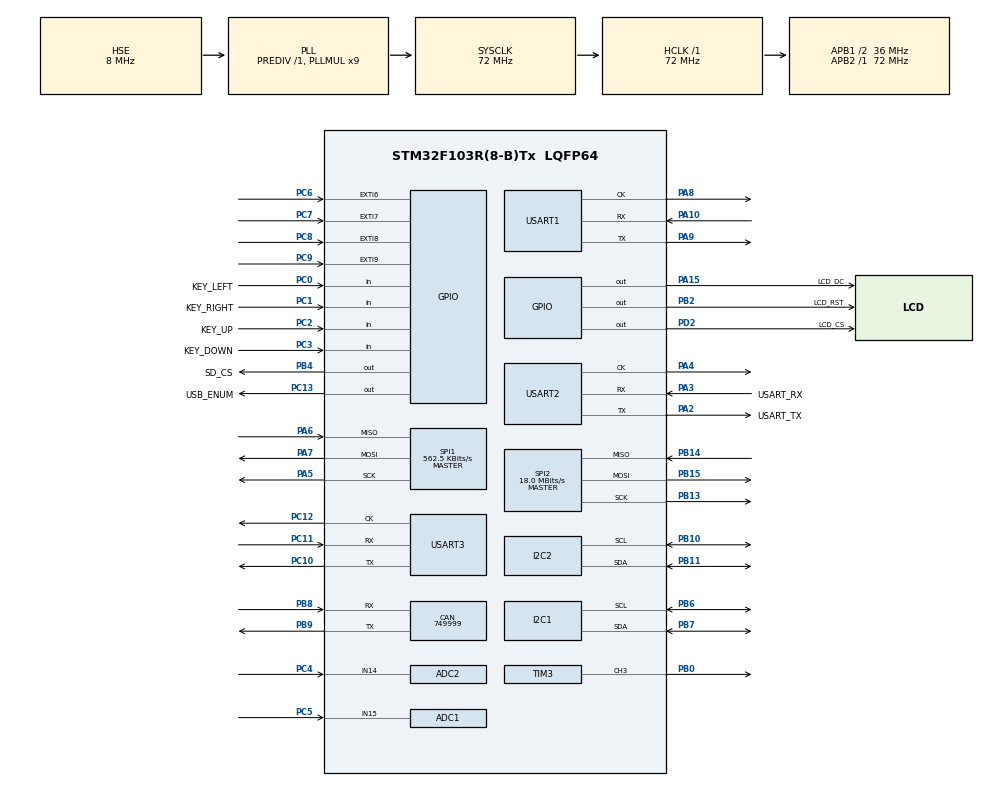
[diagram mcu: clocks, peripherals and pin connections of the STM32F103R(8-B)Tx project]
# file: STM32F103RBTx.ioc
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ADC1.Channel-0\#ChannelRegularConversion=ADC_CHANNEL_15
ADC1.Channel-1\#ChannelRegularConversion=ADC_CHANNEL_15
ADC1.Channel-2\#ChannelRegularConversion=ADC_CHANNEL_15
ADC1.Channel-3\#ChannelRegularConversion=ADC_CHANNEL_15
ADC1.Channel-4\#ChannelRegularConversion=ADC_CHANNEL_15
ADC1.ContinuousConvMode=ENABLE
ADC1.Mode=__NULL
ADC1.NbrOfConversion=5
ADC1.NbrOfConversionFlag=1
ADC1.Rank-0\#ChannelRegularConversion=1
ADC1.Rank-1\#ChannelRegularConversion=2
ADC1.Rank-2\#ChannelRegularConversion=3
ADC1.Rank-3\#ChannelRegularConversion=4
ADC1.Rank-4\#ChannelRegularConversion=5
ADC1.SamplingTime-0\#ChannelRegularConversion=ADC_SAMPLETIME_28CYCLES_5
ADC1.SamplingTime-1\#ChannelRegularConversion=ADC_SAMPLETIME_1CYCLE_5
ADC1.SamplingTime-2\#ChannelRegularConversion=ADC_SAMPLETIME_1CYCLE_5
ADC1.SamplingTime-3\#ChannelRegularConversion=ADC_SAMPLETIME_1CYCLE_5
ADC1.SamplingTime-4\#ChannelRegularConversion=ADC_SAMPLETIME_1CYCLE_5
ADC1.master=1
ADC2.Channel-7\#ChannelRegularConversion=ADC_CHANNEL_14
ADC2.NbrOfConversionFlag=1
ADC2.Rank-7\#ChannelRegularConversion=1
ADC2.SamplingTime-7\#ChannelRegularConversion=ADC_SAMPLETIME_1CYCLE_5
CAN.BS1=CAN_BS1_1TQ
CAN.BS2=CAN_BS2_1TQ
CAN.CalculateBaudRate=749999
CAN.CalculateTimeBit=1333
CAN.CalculateTimeQuantum=444.44444444444446
Dma.ADC1.0.Direction=DMA_PERIPH_TO_MEMORY
Dma.ADC1.0.Instance=DMA1_Channel1
Dma.ADC1.0.MemDataAlignment=DMA_MDATAALIGN_HALFWORD
Dma.ADC1.0.MemInc=DMA_MINC_ENABLE
Dma.ADC1.0.Mode=DMA_CIRCULAR
Dma.ADC1.0.PeriphDataAlignment=DMA_PDATAALIGN_HALFWORD
Dma.ADC1.0.PeriphInc=DMA_PINC_DISABLE
Dma.ADC1.0.Priority=DMA_PRIORITY_LOW
Dma.Request0=ADC1
Mcu.Family=STM32F1
Mcu.Name=STM32F103R(8-B)Tx
Mcu.Package=LQFP64
NVIC.DMA1_Channel1_IRQn=true\:0\:0\:false\:false\:true\:false\:true\:true
NVIC.EXTI9_5_IRQn=true\:0\:0\:false\:false\:true\:true\:true\:true
NVIC.PriorityGroup=NVIC_PRIORITYGROUP_4
NVIC.TIM2_IRQn=true\:0\:0\:false\:false\:true\:true\:true\:true
NVIC.USB_LP_CAN1_RX0_IRQn=true\:0\:0\:false\:false\:true\:false\:true\:true
PA10.Mode=Synchronous
PA10.Signal=USART1_RX
PA13.GPIO_Label=TMS
PA13.Mode=Serial_Wire
PA13.Signal=SYS_JTMS-SWDIO
PA14.GPIO_Label=TCK
PA14.Mode=Serial_Wire
PA14.Signal=SYS_JTCK-SWCLK
PA15.GPIO_Label=LCD_DC
PA15.GPIO_PuPd=GPIO_NOPULL
PA15.GPIO_Speed=GPIO_SPEED_FREQ_HIGH
PA15.PinState=GPIO_PIN_RESET
PA15.Signal=GPIO_Output
PA2.GPIO_Label=USART_TX
PA2.GPIO_Mode=GPIO_MODE_AF_PP
PA2.GPIO_PuPd=GPIO_NOPULL
PA2.GPIO_Speed=GPIO_SPEED_FREQ_LOW
PA2.Mode=Synchronous
PA2.Signal=USART2_TX
PA3.GPIO_Label=USART_RX
PA3.GPIO_Mode=GPIO_MODE_AF_PP
PA3.GPIO_PuPd=GPIO_NOPULL
PA3.GPIO_Speed=GPIO_SPEED_FREQ_LOW
PA3.Mode=Synchronous
PA3.Signal=USART2_RX
PA4.Mode=Synchronous
PA4.Signal=USART2_CK
PA5.Mode=Full_Duplex_Master
PA5.Signal=SPI1_SCK
PA6.GPIO_Mode=GPIO_MODE_INPUT
PA6.GPIO_PuPd=GPIO_PULLUP
PA6.Mode=Full_Duplex_Master
PA6.Signal=SPI1_MISO
PA7.Mode=Full_Duplex_Master
PA7.Signal=SPI1_MOSI
PA8.Mode=Synchronous
PA8.Signal=USART1_CK
PA9.Mode=Synchronous
PA9.Signal=USART1_TX
PB0.Signal=S_TIM3_CH3
PB1.Signal=S_TIM3_CH4
PB10.Mode=I2C
PB10.Signal=I2C2_SCL
PB11.Mode=I2C
PB11.Signal=I2C2_SDA
PB13.Mode=Full_Duplex_Master
PB13.Signal=SPI2_SCK
PB14.Mode=Full_Duplex_Master
PB14.Signal=SPI2_MISO
PB15.Mode=Full_Duplex_Master
PB15.Signal=SPI2_MOSI
PB2.GPIO_Label=LCD_RST
PB2.GPIO_ModeDefaultOutputPP=GPIO_MODE_OUTPUT_PP
PB2.PinState=GPIO_PIN_SET
PB2.Signal=GPIO_Output
PB3.GPIO_Label=SWO
PB3.Signal=SYS_JTDO-TRACESWO
PB4.GPIO_Label=SD_CS
PB4.GPIO_PuPd=GPIO_PULLUP
PB4.GPIO_Speed=GPIO_SPEED_FREQ_HIGH
PB4.Signal=GPIO_Output
PB6.Mode=I2C
PB6.Signal=I2C1_SCL
PB7.Mode=I2C
PB7.Signal=I2C1_SDA
PB8.Mode=CAN_Activate
PB8.Signal=CAN_RX
PB9.Mode=CAN_Activate
PB9.Signal=CAN_TX
PC0.GPIO_Label=KEY_LEFT
PC0.GPIO_PuPd=GPIO_PULLUP
PC0.Signal=GPIO_Input
PC1.GPIO_Label=KEY_RIGHT
PC1.GPIO_PuPd=GPIO_PULLUP
PC1.Signal=GPIO_Input
PC10.Mode=Synchronous
PC10.Signal=USART3_TX
PC11.Mode=Synchronous
PC11.Signal=USART3_RX
PC12.Mode=Synchronous
PC12.Signal=USART3_CK
PC13-TAMPER-RTC.GPIO_Label=USB_ENUM
PC13-TAMPER-RTC.Signal=GPIO_Output
PC14-OSC32_IN.Mode=LSE-External-Oscillator
PC14-OSC32_IN.Signal=RCC_OSC32_IN
PC15-OSC32_OUT.Mode=LSE-External-Oscillator
PC15-OSC32_OUT.Signal=RCC_OSC32_OUT
PC2.GPIO_Label=KEY_UP
PC2.GPIO_PuPd=GPIO_PULLUP
PC2.Signal=GPIO_Input
PC3.GPIO_Label=KEY_DOWN
PC3.GPIO_PuPd=GPIO_PULLUP
PC3.Signal=GPIO_Input
PC4.Signal=ADCx_IN14
PC5.Signal=ADCx_IN15
PC6.Signal=GPXTI6
PC7.Signal=GPXTI7
PC8.Signal=GPXTI8
PC9.Signal=GPXTI9
PD0-OSC_IN.Mode=HSE-External-Oscillator
PD0-OSC_IN.Signal=RCC_OSC_IN
PD1-OSC_OUT.Mode=HSE-External-Oscillator
PD1-OSC_OUT.Signal=RCC_OSC_OUT
PD2.GPIO_Label=LCD_CS
PD2.GPIO_ModeDefaultOutputPP=GPIO_MODE_OUTPUT_PP
PD2.GPIO_PuPd=GPIO_NOPULL
PD2.GPIO_Speed=GPIO_SPEED_FREQ_HIGH
PD2.PinState=GPIO_PIN_SET
PD2.Signal=GPIO_Output
ProjectManager.HeapSize=0x200
ProjectManager.StackSize=0x400
ProjectManager.TargetToolchain=CMake
RCC.ADCPresc=RCC_ADCPCLK2_DIV8
RCC.AHBFreq_Value=72000000
RCC.APB1CLKDivider=RCC_HCLK_DIV2
RCC.APB1Freq_Value=36000000
RCC.APB1TimFreq_Value=72000000
RCC.APB2Freq_Value=72000000
RCC.APB2TimFreq_Value=72000000
RCC.HCLKFreq_Value=72000000
RCC.PLLMUL=RCC_PLL_MUL9
RCC.PLLSourceVirtual=RCC_PLLSOURCE_HSE
RCC.RTCClockSelection=RCC_RTCCLKSOURCE_LSE
RCC.SYSCLKFreq_VALUE=72000000
RCC.SYSCLKSource=RCC_SYSCLKSOURCE_PLLCLK
RCC.USBFreq_Value=48000000
RCC.USBPrescaler=RCC_USBCLKSOURCE_PLL_DIV1_5
SH.ADCx_IN14.0=ADC2_IN14,IN14
SH.ADCx_IN15.0=ADC1_IN15,IN15
SH.S_TIM3_CH3.0=TIM3_CH3,PWM Generation3 CH3
SH.S_TIM3_CH4.0=TIM3_CH4
SPI1.BaudRatePrescaler=SPI_BAUDRATEPRESCALER_128
SPI1.CalculateBaudRate=562.5 KBits/s
SPI1.Direction=SPI_DIRECTION_2LINES
SPI1.Mode=SPI_MODE_MASTER
SPI1.VirtualType=VM_MASTER
SPI2.BaudRatePrescaler=SPI_BAUDRATEPRESCALER_2
SPI2.CalculateBaudRate=18.0 MBits/s
SPI2.Direction=SPI_DIRECTION_2LINES
SPI2.Mode=SPI_MODE_MASTER
SPI2.VirtualType=VM_MASTER
TIM2.Period=49
TIM2.Prescaler=7199
TIM3.Channel-PWM\ Generation3\ CH3=TIM_CHANNEL_3
USART1.VirtualMode=VM_SYNC
USART2.VirtualMode=VM_SYNC
USART3.VirtualMode=VM_SYNC
VP_FATFS_VS_Generic.Mode=User_defined
VP_IWDG_VS_IWDG.Mode=IWDG_Activate
VP_TIM2_VS_ClockSourceINT.Mode=Internal
VP_WWDG_VS_WWDG.Mode=WWDG_Activate
board=NUCLEO-F103RB

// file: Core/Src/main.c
/* USER CODE BEGIN Header */
/**
 ******************************************************************************
 * @file           : main.c
 * @brief          : Main program body
 ******************************************************************************
 * @attention
 *
 * Copyright (c) 2024 STMicroelectronics.
 * All rights reserved.
 *
 * This software is licensed under terms that can be found in the LICENSE file
 * in the root directory of this software component.
 * If no LICENSE file comes with this software, it is provided AS-IS.
 *
 ******************************************************************************
 */
/* USER CODE END Header */
#include "main.h"
#include "fatfs.h"

/* USER CODE BEGIN Includes */
#include "MyApplication.hpp"
/* USER CODE END Includes */

ADC_HandleTypeDef hadc1;
ADC_HandleTypeDef hadc2;
DMA_HandleTypeDef hdma_adc1;

CAN_HandleTypeDef hcan;

I2C_HandleTypeDef hi2c1;
I2C_HandleTypeDef hi2c2;

IWDG_HandleTypeDef hiwdg;

SPI_HandleTypeDef hspi1;
SPI_HandleTypeDef hspi2;

TIM_HandleTypeDef htim2;
TIM_HandleTypeDef htim3;

USART_HandleTypeDef husart1;
USART_HandleTypeDef husart2;
USART_HandleTypeDef husart3;

WWDG_HandleTypeDef hwwdg;

/* USER CODE BEGIN PV */

#warning make it atomic
volatile uint8_t app_tick_flag = 0;

#warning move it to a separate file if possible
/**
 * @brief Period elapsed callback in non-blocking mode
 * @param htim TIM handle
 * @retval None
 */
void HAL_TIM_PeriodElapsedCallback(TIM_HandleTypeDef *htim)
{
  if (htim->Instance == TIM2)
  {
    app_timeSlotIsr();
    app_tick_flag = 1; // Set flag every 5ms
  }
}

/* USER CODE END PV */

void SystemClock_Config(void);
static void MX_GPIO_Init(void);
static void MX_DMA_Init(void);
static void MX_USART2_Init(void);
static void MX_ADC1_Init(void);
static void MX_CAN_Init(void);
static void MX_I2C1_Init(void);
static void MX_I2C2_Init(void);
static void MX_SPI2_Init(void);
static void MX_TIM3_Init(void);
static void MX_USART1_Init(void);
static void MX_USART3_Init(void);
static void MX_ADC2_Init(void);
static void MX_IWDG_Init(void);
static void MX_SPI1_Init(void);
static void MX_WWDG_Init(void);
static void MX_TIM2_Init(void);

int main(void)
{

  /* MCU Configuration--------------------------------------------------------*/

  /* Reset of all peripherals, Initializes the Flash interface and the Systick. */
  HAL_Init();

  /* USER CODE BEGIN Init */
  __HAL_RCC_AFIO_CLK_ENABLE();
  __HAL_AFIO_REMAP_SWJ_NOJTAG(); // disables JTAG, keeps SWD
  /* USER CODE END Init */

  /* Configure the system clock */
  SystemClock_Config();

  /* Initialize all configured peripherals */
  MX_GPIO_Init();
  MX_DMA_Init();
  MX_USART2_Init();
  MX_ADC1_Init();
  MX_CAN_Init();
  MX_I2C1_Init();
  MX_I2C2_Init();
  MX_SPI2_Init();
  MX_TIM3_Init();
  MX_USART1_Init();
  MX_USART3_Init();
  MX_ADC2_Init();
  /// MX_IWDG_Init();
  MX_SPI1_Init();
  // MX_WWDG_Init();
  MX_FATFS_Init();
  MX_TIM2_Init();
  /* USER CODE BEGIN 2 */

  // TODO
  __HAL_DBGMCU_FREEZE_IWDG();
  __HAL_DBGMCU_FREEZE_WWDG();

  // TODO
  __HAL_RCC_AFIO_CLK_ENABLE();
  __HAL_AFIO_REMAP_SWJ_NOJTAG();

  /*
  HAL_Delay(2000);
  if (HAL_SPI_GetState(&hspi1) == HAL_SPI_STATE_READY)
  {
    // SPI is initialized and enabled
    volatile int isOK;
  }*/

  app_init();
  app_start();

  // only when started start the timer, think to move this to somewhere
  HAL_TIM_Base_Start_IT(&htim2); // start time base for app_tick

  /* USER CODE END 2 */

  /* Infinite loop */
  /* USER CODE BEGIN WHILE */
  while (1)
  {
    if (app_tick_flag != 0U)
    {
      app_tick_flag = 0U;
      app_tick();
    }
    else
    {
      __WFI(); // Sleep until any interrupt occurs (e.g., TIM2 sets app_tick_flag)
    }
    /* USER CODE END WHILE */

  }
}

void SystemClock_Config(void)
{
  RCC_OscInitTypeDef RCC_OscInitStruct = {0};
  RCC_ClkInitTypeDef RCC_ClkInitStruct = {0};
  RCC_PeriphCLKInitTypeDef PeriphClkInit = {0};

  /** Initializes the RCC Oscillators according to the specified parameters
   * in the RCC_OscInitTypeDef structure.
   */
  RCC_OscInitStruct.OscillatorType = RCC_OSCILLATORTYPE_LSI | RCC_OSCILLATORTYPE_HSE;
  RCC_OscInitStruct.HSEState = RCC_HSE_ON;
  RCC_OscInitStruct.HSEPredivValue = RCC_HSE_PREDIV_DIV1;
  RCC_OscInitStruct.HSIState = RCC_HSI_ON;
  RCC_OscInitStruct.LSIState = RCC_LSI_ON;
  RCC_OscInitStruct.PLL.PLLState = RCC_PLL_ON;
  RCC_OscInitStruct.PLL.PLLSource = RCC_PLLSOURCE_HSE;
  RCC_OscInitStruct.PLL.PLLMUL = RCC_PLL_MUL9;
  if (HAL_RCC_OscConfig(&RCC_OscInitStruct) != HAL_OK)
  {
    Error_Handler();
  }

  /** Initializes the CPU, AHB and APB buses clocks
   */
  RCC_ClkInitStruct.ClockType = RCC_CLOCKTYPE_HCLK | RCC_CLOCKTYPE_SYSCLK | RCC_CLOCKTYPE_PCLK1 | RCC_CLOCKTYPE_PCLK2;
  RCC_ClkInitStruct.SYSCLKSource = RCC_SYSCLKSOURCE_PLLCLK;
  RCC_ClkInitStruct.AHBCLKDivider = RCC_SYSCLK_DIV1;
  RCC_ClkInitStruct.APB1CLKDivider = RCC_HCLK_DIV2;
  RCC_ClkInitStruct.APB2CLKDivider = RCC_HCLK_DIV1;

  if (HAL_RCC_ClockConfig(&RCC_ClkInitStruct, FLASH_LATENCY_2) != HAL_OK)
  {
    Error_Handler();
  }
  PeriphClkInit.PeriphClockSelection = RCC_PERIPHCLK_ADC;
  PeriphClkInit.AdcClockSelection = RCC_ADCPCLK2_DIV8;
  if (HAL_RCCEx_PeriphCLKConfig(&PeriphClkInit) != HAL_OK)
  {
    Error_Handler();
  }
}

static void MX_ADC1_Init(void)
{

  ADC_ChannelConfTypeDef sConfig = {0};

  /** Common config
   */
  hadc1.Instance = ADC1;
  hadc1.Init.ScanConvMode = ADC_SCAN_ENABLE;
  hadc1.Init.ContinuousConvMode = ENABLE;
  hadc1.Init.DiscontinuousConvMode = DISABLE;
  hadc1.Init.ExternalTrigConv = ADC_SOFTWARE_START;
  hadc1.Init.DataAlign = ADC_DATAALIGN_RIGHT;
  hadc1.Init.NbrOfConversion = 5;
  if (HAL_ADC_Init(&hadc1) != HAL_OK)
  {
    Error_Handler();
  }

  /** Configure Regular Channel
   */
  sConfig.Channel = ADC_CHANNEL_15;
  sConfig.Rank = ADC_REGULAR_RANK_1;
  sConfig.SamplingTime = ADC_SAMPLETIME_28CYCLES_5;
  if (HAL_ADC_ConfigChannel(&hadc1, &sConfig) != HAL_OK)
  {
    Error_Handler();
  }

  /** Configure Regular Channel
   */
  sConfig.Rank = ADC_REGULAR_RANK_2;
  sConfig.SamplingTime = ADC_SAMPLETIME_1CYCLE_5;
  if (HAL_ADC_ConfigChannel(&hadc1, &sConfig) != HAL_OK)
  {
    Error_Handler();
  }

  /** Configure Regular Channel
   */
  sConfig.Rank = ADC_REGULAR_RANK_3;
  if (HAL_ADC_ConfigChannel(&hadc1, &sConfig) != HAL_OK)
  {
    Error_Handler();
  }

  /** Configure Regular Channel
   */
  sConfig.Rank = ADC_REGULAR_RANK_4;
  if (HAL_ADC_ConfigChannel(&hadc1, &sConfig) != HAL_OK)
  {
    Error_Handler();
  }

  /** Configure Regular Channel
   */
  sConfig.Rank = ADC_REGULAR_RANK_5;
  if (HAL_ADC_ConfigChannel(&hadc1, &sConfig) != HAL_OK)
  {
    Error_Handler();
  }
}

static void MX_ADC2_Init(void)
{

  ADC_ChannelConfTypeDef sConfig = {0};

  /** Common config
   */
  hadc2.Instance = ADC2;
  hadc2.Init.ScanConvMode = ADC_SCAN_DISABLE;
  hadc2.Init.ContinuousConvMode = DISABLE;
  hadc2.Init.DiscontinuousConvMode = DISABLE;
  hadc2.Init.ExternalTrigConv = ADC_SOFTWARE_START;
  hadc2.Init.DataAlign = ADC_DATAALIGN_RIGHT;
  hadc2.Init.NbrOfConversion = 1;
  if (HAL_ADC_Init(&hadc2) != HAL_OK)
  {
    Error_Handler();
  }

  /** Configure Regular Channel
   */
  sConfig.Channel = ADC_CHANNEL_14;
  sConfig.Rank = ADC_REGULAR_RANK_1;
  sConfig.SamplingTime = ADC_SAMPLETIME_1CYCLE_5;
  if (HAL_ADC_ConfigChannel(&hadc2, &sConfig) != HAL_OK)
  {
    Error_Handler();
  }
}

static void MX_CAN_Init(void)
{

  hcan.Instance = CAN1;
  hcan.Init.Prescaler = 16;
  hcan.Init.Mode = CAN_MODE_NORMAL;
  hcan.Init.SyncJumpWidth = CAN_SJW_1TQ;
  hcan.Init.TimeSeg1 = CAN_BS1_1TQ;
  hcan.Init.TimeSeg2 = CAN_BS2_1TQ;
  hcan.Init.TimeTriggeredMode = DISABLE;
  hcan.Init.AutoBusOff = DISABLE;
  hcan.Init.AutoWakeUp = DISABLE;
  hcan.Init.AutoRetransmission = DISABLE;
  hcan.Init.ReceiveFifoLocked = DISABLE;
  hcan.Init.TransmitFifoPriority = DISABLE;
  if (HAL_CAN_Init(&hcan) != HAL_OK)
  {
    Error_Handler();
  }
}

static void MX_I2C1_Init(void)
{

  hi2c1.Instance = I2C1;
  hi2c1.Init.ClockSpeed = 100000;
  hi2c1.Init.DutyCycle = I2C_DUTYCYCLE_2;
  hi2c1.Init.OwnAddress1 = 0;
  hi2c1.Init.AddressingMode = I2C_ADDRESSINGMODE_7BIT;
  hi2c1.Init.DualAddressMode = I2C_DUALADDRESS_DISABLE;
  hi2c1.Init.OwnAddress2 = 0;
  hi2c1.Init.GeneralCallMode = I2C_GENERALCALL_DISABLE;
  hi2c1.Init.NoStretchMode = I2C_NOSTRETCH_DISABLE;
  if (HAL_I2C_Init(&hi2c1) != HAL_OK)
  {
    Error_Handler();
  }
}

static void MX_I2C2_Init(void)
{

  hi2c2.Instance = I2C2;
  hi2c2.Init.ClockSpeed = 100000;
  hi2c2.Init.DutyCycle = I2C_DUTYCYCLE_2;
  hi2c2.Init.OwnAddress1 = 0;
  hi2c2.Init.AddressingMode = I2C_ADDRESSINGMODE_7BIT;
  hi2c2.Init.DualAddressMode = I2C_DUALADDRESS_DISABLE;
  hi2c2.Init.OwnAddress2 = 0;
  hi2c2.Init.GeneralCallMode = I2C_GENERALCALL_DISABLE;
  hi2c2.Init.NoStretchMode = I2C_NOSTRETCH_DISABLE;
  if (HAL_I2C_Init(&hi2c2) != HAL_OK)
  {
    Error_Handler();
  }
}

static void MX_IWDG_Init(void)
{

  hiwdg.Instance = IWDG;
  hiwdg.Init.Prescaler = IWDG_PRESCALER_4;
  hiwdg.Init.Reload = 4095;
  if (HAL_IWDG_Init(&hiwdg) != HAL_OK)
  {
    Error_Handler();
  }
}

static void MX_SPI1_Init(void)
{

  /* SPI1 parameter configuration*/
  hspi1.Instance = SPI1;
  hspi1.Init.Mode = SPI_MODE_MASTER;
  hspi1.Init.Direction = SPI_DIRECTION_2LINES;
  hspi1.Init.DataSize = SPI_DATASIZE_8BIT;
  hspi1.Init.CLKPolarity = SPI_POLARITY_LOW;
  hspi1.Init.CLKPhase = SPI_PHASE_1EDGE;
  hspi1.Init.NSS = SPI_NSS_SOFT;
  hspi1.Init.BaudRatePrescaler = SPI_BAUDRATEPRESCALER_128;
  hspi1.Init.FirstBit = SPI_FIRSTBIT_MSB;
  hspi1.Init.TIMode = SPI_TIMODE_DISABLE;
  hspi1.Init.CRCCalculation = SPI_CRCCALCULATION_DISABLE;
  hspi1.Init.CRCPolynomial = 10;
  if (HAL_SPI_Init(&hspi1) != HAL_OK)
  {
    Error_Handler();
  }
}

static void MX_SPI2_Init(void)
{

  /* SPI2 parameter configuration*/
  hspi2.Instance = SPI2;
  hspi2.Init.Mode = SPI_MODE_MASTER;
  hspi2.Init.Direction = SPI_DIRECTION_2LINES;
  hspi2.Init.DataSize = SPI_DATASIZE_8BIT;
  hspi2.Init.CLKPolarity = SPI_POLARITY_LOW;
  hspi2.Init.CLKPhase = SPI_PHASE_1EDGE;
  hspi2.Init.NSS = SPI_NSS_SOFT;
  hspi2.Init.BaudRatePrescaler = SPI_BAUDRATEPRESCALER_2;
  hspi2.Init.FirstBit = SPI_FIRSTBIT_MSB;
  hspi2.Init.TIMode = SPI_TIMODE_DISABLE;
  hspi2.Init.CRCCalculation = SPI_CRCCALCULATION_DISABLE;
  hspi2.Init.CRCPolynomial = 10;
  if (HAL_SPI_Init(&hspi2) != HAL_OK)
  {
    Error_Handler();
  }
}

static void MX_TIM2_Init(void)
{

  TIM_ClockConfigTypeDef sClockSourceConfig = {0};
  TIM_MasterConfigTypeDef sMasterConfig = {0};

  htim2.Instance = TIM2;
  htim2.Init.Prescaler = 7199;
  htim2.Init.CounterMode = TIM_COUNTERMODE_UP;
  htim2.Init.Period = 49;
  htim2.Init.ClockDivision = TIM_CLOCKDIVISION_DIV1;
  htim2.Init.AutoReloadPreload = TIM_AUTORELOAD_PRELOAD_DISABLE;
  if (HAL_TIM_Base_Init(&htim2) != HAL_OK)
  {
    Error_Handler();
  }
  sClockSourceConfig.ClockSource = TIM_CLOCKSOURCE_INTERNAL;
  if (HAL_TIM_ConfigClockSource(&htim2, &sClockSourceConfig) != HAL_OK)
  {
    Error_Handler();
  }
  sMasterConfig.MasterOutputTrigger = TIM_TRGO_RESET;
  sMasterConfig.MasterSlaveMode = TIM_MASTERSLAVEMODE_DISABLE;
  if (HAL_TIMEx_MasterConfigSynchronization(&htim2, &sMasterConfig) != HAL_OK)
  {
    Error_Handler();
  }
}

static void MX_TIM3_Init(void)
{

  TIM_MasterConfigTypeDef sMasterConfig = {0};
  TIM_OC_InitTypeDef sConfigOC = {0};

  htim3.Instance = TIM3;
  htim3.Init.Prescaler = 0;
  htim3.Init.CounterMode = TIM_COUNTERMODE_UP;
  htim3.Init.Period = 65535;
  htim3.Init.ClockDivision = TIM_CLOCKDIVISION_DIV1;
  htim3.Init.AutoReloadPreload = TIM_AUTORELOAD_PRELOAD_DISABLE;
  if (HAL_TIM_PWM_Init(&htim3) != HAL_OK)
  {
    Error_Handler();
  }
  sMasterConfig.MasterOutputTrigger = TIM_TRGO_RESET;
  sMasterConfig.MasterSlaveMode = TIM_MASTERSLAVEMODE_DISABLE;
  if (HAL_TIMEx_MasterConfigSynchronization(&htim3, &sMasterConfig) != HAL_OK)
  {
    Error_Handler();
  }
  sConfigOC.OCMode = TIM_OCMODE_PWM1;
  sConfigOC.Pulse = 0;
  sConfigOC.OCPolarity = TIM_OCPOLARITY_HIGH;
  sConfigOC.OCFastMode = TIM_OCFAST_DISABLE;
  if (HAL_TIM_PWM_ConfigChannel(&htim3, &sConfigOC, TIM_CHANNEL_3) != HAL_OK)
  {
    Error_Handler();
  }
  HAL_TIM_MspPostInit(&htim3);
}

static void MX_USART1_Init(void)
{

  husart1.Instance = USART1;
  husart1.Init.BaudRate = 115200;
  husart1.Init.WordLength = USART_WORDLENGTH_8B;
  husart1.Init.StopBits = USART_STOPBITS_1;
  husart1.Init.Parity = USART_PARITY_NONE;
  husart1.Init.Mode = USART_MODE_TX_RX;
  husart1.Init.CLKPolarity = USART_POLARITY_LOW;
  husart1.Init.CLKPhase = USART_PHASE_1EDGE;
  husart1.Init.CLKLastBit = USART_LASTBIT_DISABLE;
  if (HAL_USART_Init(&husart1) != HAL_OK)
  {
    Error_Handler();
  }
}

static void MX_USART2_Init(void)
{

  husart2.Instance = USART2;
  husart2.Init.BaudRate = 115200;
  husart2.Init.WordLength = USART_WORDLENGTH_8B;
  husart2.Init.StopBits = USART_STOPBITS_1;
  husart2.Init.Parity = USART_PARITY_NONE;
  husart2.Init.Mode = USART_MODE_TX_RX;
  husart2.Init.CLKPolarity = USART_POLARITY_LOW;
  husart2.Init.CLKPhase = USART_PHASE_1EDGE;
  husart2.Init.CLKLastBit = USART_LASTBIT_DISABLE;
  if (HAL_USART_Init(&husart2) != HAL_OK)
  {
    Error_Handler();
  }
}

static void MX_USART3_Init(void)
{

  husart3.Instance = USART3;
  husart3.Init.BaudRate = 115200;
  husart3.Init.WordLength = USART_WORDLENGTH_8B;
  husart3.Init.StopBits = USART_STOPBITS_1;
  husart3.Init.Parity = USART_PARITY_NONE;
  husart3.Init.Mode = USART_MODE_TX_RX;
  husart3.Init.CLKPolarity = USART_POLARITY_LOW;
  husart3.Init.CLKPhase = USART_PHASE_1EDGE;
  husart3.Init.CLKLastBit = USART_LASTBIT_DISABLE;
  if (HAL_USART_Init(&husart3) != HAL_OK)
  {
    Error_Handler();
  }
}

static void MX_WWDG_Init(void)
{

  hwwdg.Instance = WWDG;
  hwwdg.Init.Prescaler = WWDG_PRESCALER_1;
  hwwdg.Init.Window = 64;
  hwwdg.Init.Counter = 64;
  hwwdg.Init.EWIMode = WWDG_EWI_DISABLE;
  if (HAL_WWDG_Init(&hwwdg) != HAL_OK)
  {
    Error_Handler();
  }
}

static void MX_DMA_Init(void)
{

  /* DMA controller clock enable */
  __HAL_RCC_DMA1_CLK_ENABLE();

  /* DMA interrupt init */
  /* DMA1_Channel1_IRQn interrupt configuration */
  HAL_NVIC_SetPriority(DMA1_Channel1_IRQn, 0, 0);
  HAL_NVIC_EnableIRQ(DMA1_Channel1_IRQn);
}

static void MX_GPIO_Init(void)
{
  GPIO_InitTypeDef GPIO_InitStruct = {0};

  /* GPIO Ports Clock Enable */
  __HAL_RCC_GPIOC_CLK_ENABLE();
  __HAL_RCC_GPIOD_CLK_ENABLE();
  __HAL_RCC_GPIOA_CLK_ENABLE();
  __HAL_RCC_GPIOB_CLK_ENABLE();

  /*Configure GPIO pin Output Level */
  HAL_GPIO_WritePin(USB_ENUM_GPIO_Port, USB_ENUM_Pin, GPIO_PIN_RESET);

  /*Configure GPIO pin Output Level */
  HAL_GPIO_WritePin(LCD_RST_GPIO_Port, LCD_RST_Pin, GPIO_PIN_SET);

  /*Configure GPIO pin Output Level */
  HAL_GPIO_WritePin(LCD_DC_GPIO_Port, LCD_DC_Pin, GPIO_PIN_RESET);

  /*Configure GPIO pin Output Level */
  HAL_GPIO_WritePin(LCD_CS_GPIO_Port, LCD_CS_Pin, GPIO_PIN_SET);

  /*Configure GPIO pin Output Level */
  HAL_GPIO_WritePin(SD_CS_GPIO_Port, SD_CS_Pin, GPIO_PIN_RESET);

  /*Configure GPIO pin : USB_ENUM_Pin */
  GPIO_InitStruct.Pin = USB_ENUM_Pin;
  GPIO_InitStruct.Mode = GPIO_MODE_OUTPUT_PP;
  GPIO_InitStruct.Pull = GPIO_NOPULL;
  GPIO_InitStruct.Speed = GPIO_SPEED_FREQ_LOW;
  HAL_GPIO_Init(USB_ENUM_GPIO_Port, &GPIO_InitStruct);

  /*Configure GPIO pins : KEY_LEFT_Pin KEY_RIGHT_Pin KEY_UP_Pin KEY_DOWN_Pin */
  GPIO_InitStruct.Pin = KEY_LEFT_Pin | KEY_RIGHT_Pin | KEY_UP_Pin | KEY_DOWN_Pin;
  GPIO_InitStruct.Mode = GPIO_MODE_INPUT;
  GPIO_InitStruct.Pull = GPIO_PULLUP;
  HAL_GPIO_Init(GPIOC, &GPIO_InitStruct);

  /*Configure GPIO pin : LCD_RST_Pin */
  GPIO_InitStruct.Pin = LCD_RST_Pin;
  GPIO_InitStruct.Mode = GPIO_MODE_OUTPUT_PP;
  GPIO_InitStruct.Pull = GPIO_NOPULL;
  GPIO_InitStruct.Speed = GPIO_SPEED_FREQ_LOW;
  HAL_GPIO_Init(LCD_RST_GPIO_Port, &GPIO_InitStruct);

  /*Configure GPIO pins : PC6 PC7 PC8 PC9 */
  GPIO_InitStruct.Pin = GPIO_PIN_6 | GPIO_PIN_7 | GPIO_PIN_8 | GPIO_PIN_9;
  GPIO_InitStruct.Mode = GPIO_MODE_IT_RISING;
  GPIO_InitStruct.Pull = GPIO_NOPULL;
  HAL_GPIO_Init(GPIOC, &GPIO_InitStruct);

  /*Configure GPIO pin : LCD_DC_Pin */
  GPIO_InitStruct.Pin = LCD_DC_Pin;
  GPIO_InitStruct.Mode = GPIO_MODE_OUTPUT_PP;
  GPIO_InitStruct.Pull = GPIO_NOPULL;
  GPIO_InitStruct.Speed = GPIO_SPEED_FREQ_HIGH;
  HAL_GPIO_Init(LCD_DC_GPIO_Port, &GPIO_InitStruct);

  /*Configure GPIO pin : LCD_CS_Pin */
  GPIO_InitStruct.Pin = LCD_CS_Pin;
  GPIO_InitStruct.Mode = GPIO_MODE_OUTPUT_PP;
  GPIO_InitStruct.Pull = GPIO_NOPULL;
  GPIO_InitStruct.Speed = GPIO_SPEED_FREQ_HIGH;
  HAL_GPIO_Init(LCD_CS_GPIO_Port, &GPIO_InitStruct);

  /*Configure GPIO pin : SD_CS_Pin */
  GPIO_InitStruct.Pin = SD_CS_Pin;
  GPIO_InitStruct.Mode = GPIO_MODE_OUTPUT_PP;
  GPIO_InitStruct.Pull = GPIO_PULLUP;
  GPIO_InitStruct.Speed = GPIO_SPEED_FREQ_HIGH;
  HAL_GPIO_Init(SD_CS_GPIO_Port, &GPIO_InitStruct);

  /* EXTI interrupt init*/
  HAL_NVIC_SetPriority(EXTI9_5_IRQn, 0, 0);
  HAL_NVIC_EnableIRQ(EXTI9_5_IRQn);

}

void Error_Handler(void)
{
  __disable_irq();
  while (1)
  {
  }
}
